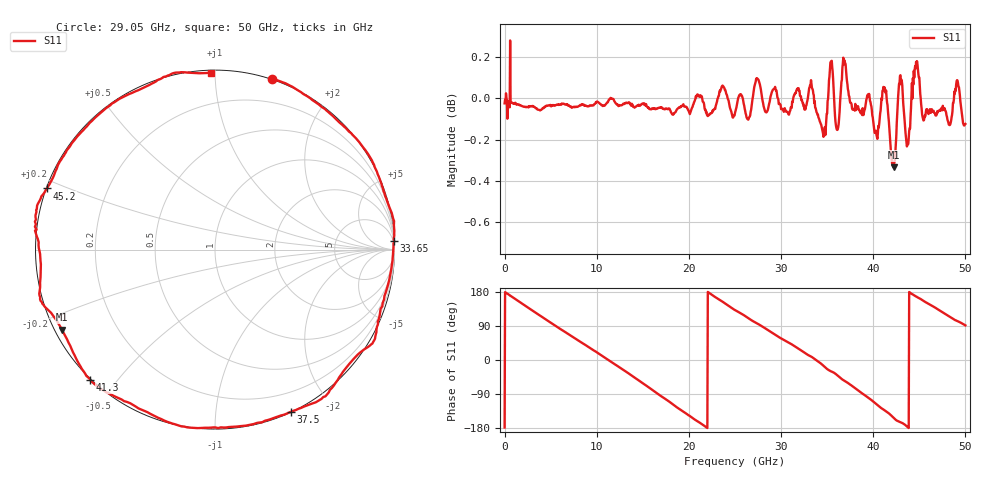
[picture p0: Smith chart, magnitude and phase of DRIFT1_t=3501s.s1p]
!Created with skrf (http://scikit-rf.org).
# Hz S RI R 50.0
!freq ReS11 ImS11
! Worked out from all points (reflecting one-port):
!   1001 points, 300 kHz to 50 GHz, reference 50 ohm
!   lowest |S11| = -0.3 dB at 42.2 GHz (marker M1), VSWR 51.75, Z = 1.02 - j12.3 ohm
!   phase of S11 starts at -178 deg and turns -810 deg over the sweep
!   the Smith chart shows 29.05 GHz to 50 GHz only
!   S11 on the Smith chart (normalised r, x): 29.05 GHz: -0.01, +1.39; 33.65 GHz: 1, +42; 37.5 GHz: 0.00, -1.57; 41.3 GHz: -0.00, -0.43; 45.2 GHz: 0.00, +0.18; 50 GHz: 0.01, +0.98
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300000  -0.9967 -0.0313
1.60029e9  -0.8931 0.442
3.40028e9  -0.5599 0.8219
6.250262e9  0.195 0.9777
9.550243e9  0.8887 0.4498
1.115023e10  0.9974 0.0296
1.250022e10  0.9364 -0.3396
1.415022e10  0.6773 -0.7291
1.580021e10  0.2581 -0.9598
1.73002e10  -0.1825 -0.9771
1.875019e10  -0.582 -0.806
2.050018e10  -0.903 -0.4221
2.170017e10  -0.9894 -0.0996
2.345016e10  -0.925 0.3929
2.500015e10  -0.6589 0.7414
2.725014e10  -0.1492 0.9984
2.905013e10  0.3169 0.9528
3.125011e10  0.7664 0.639
3.36501e10  0.9973 0.0478
3.555009e10  0.8696 -0.5285
3.750008e10  0.422 -0.9039
3.945006e10  -0.156 -0.9901
4.130005e10  -0.6951 -0.7254
4.220005e10  -0.8522 -0.4465
4.375004e10  -0.9735 -0.043
4.520003e10  -0.9367 0.3404
4.770001e10  -0.5434 0.8317
5e10  -0.024 0.9855
